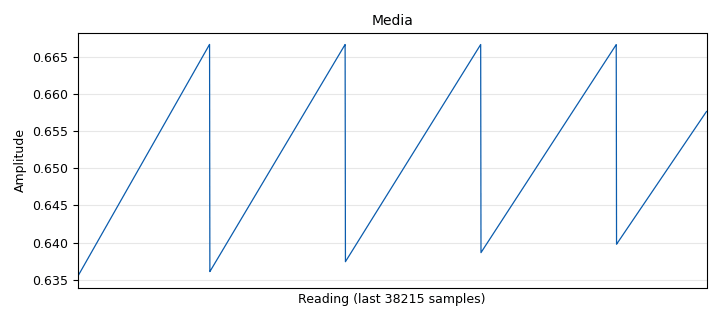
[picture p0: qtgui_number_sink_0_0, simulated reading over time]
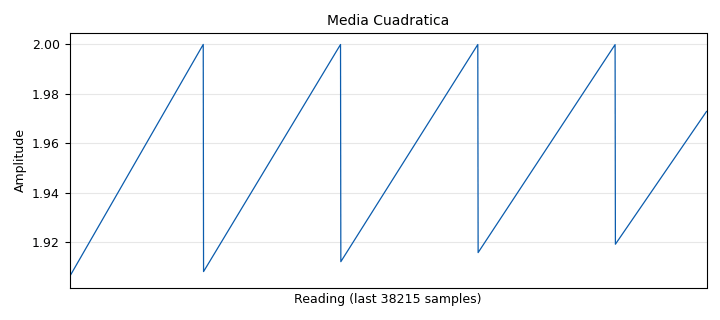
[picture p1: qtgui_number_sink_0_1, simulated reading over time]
options:
  parameters:
    author: lizaness
    generate_options: qt_gui
    id: estadistica
    output_language: python
    title: Not titled yet
  states: {}

blocks:
- name: samp_rate
  id: variable
  parameters:
    value: '32000'
  states: {}
- name: blocks_throttle2_0
  id: blocks_throttle2
  parameters:
    samples_per_second: samp_rate
    type: float
  states: {}
- name: blocks_throttle2_0_0
  id: blocks_throttle2
  parameters:
    samples_per_second: samp_rate
    type: float
  states: {}
- name: blocks_throttle2_0_1
  id: blocks_throttle2
  parameters:
    samples_per_second: samp_rate
    type: float
  states: {}
- name: blocks_throttle2_0_2
  id: blocks_throttle2
  parameters:
    samples_per_second: samp_rate
    type: float
  states: {}
- name: blocks_throttle2_0_3
  id: blocks_throttle2
  parameters:
    samples_per_second: samp_rate
    type: float
  states: {}
- name: blocks_vector_source_x_0
  id: blocks_vector_source_x
  parameters:
    repeat: 'True'
    type: float
    vector: (1, 2, -1)
  states: {}
- name: epy_block_0
  id: epy_block
  parameters:
    _source_code: "\"\"\"\nEmbedded Python Blocks:\n\nEach time this file is saved, GRC will instantiate the first class it finds\nto get ports and parameters of your block. The arguments to __init__  will\nbe the parameters. All of them are required to have default values!\n\"\"\"\n\nimport numpy as np\nfrom gnuradio import gr\n\nclass blk(gr.sync_block):\n    \"\"\"Bloque de Promedios de Tiempo Estadísticos\"\"\"\n\n    def __init__(self):\n        gr.sync_block.__init__(\n            self,\n            name='Promedios_de_tiempos',\n            in_sig=[np.float32],\n            out_sig=[np.float32, np.float32, np.float32, np.float32, np.float32]\n        )\n        self.acum_anterior = 0.0\n        self.Ntotales = 0\n        self.acum_anterior1 = 0.0\n        self.acum_anterior2 = 0.0\n\n    def work(self, input_items, output_items):\n        x = input_items[0]\n        y0 = output_items[0]  # Media\n        y1 = output_items[1]  # Media Cuadrática\n        y2 = output_items[2]  # RMS\n        y3 = output_items[3]  # Potencia Promedio\n        y4 = output_items[4]  # Desviación Estándar\n\n        N = len(x)\n        if N > 0:\n            self.Ntotales += N\n\n            # 1. Media\n            acumulado = self.acum_anterior + np.cumsum(x)\n            self.acum_anterior = acumulado[-1]\n            y0[:] = acumulado / self.Ntotales\n\n            # 2. Media Cuadrática\n            x2 = np.multiply(x, x)\n            acumulado1 = self.acum_anterior1 + np.cumsum(x2)\n            self.acum_anterior1 = acumulado1[-1]  # Corrección de variable en la guía\n            y1[:] = acumulado1 / self.Ntotales\n\n            # 3. Valor RMS\n            y2[:] = np.sqrt(y1)\n\n            # 4. Potencia Promedio\n            y3[:] = np.multiply(y2, y2)\n\n            # 5. Desviación Estándar\n            x3 = np.multiply(x - y0, x - y0)\n            acumulado2 = self.acum_anterior2 + np.cumsum(x3)\n            self.acum_anterior2 = acumulado2[-1]\n            y4[:] = np.sqrt(acumulado2 / self.Ntotales)\n\n        return len(x)\n\n\n\n"
  states: {}
- name: qtgui_number_sink_0_0
  id: qtgui_number_sink
  parameters:
    graph_type: qtgui.NUM_GRAPH_HORIZ
    name: '"Media"'
    type: float
  states: {}
- name: qtgui_number_sink_0_1
  id: qtgui_number_sink
  parameters:
    graph_type: qtgui.NUM_GRAPH_HORIZ
    name: '"Media Cuadratica"'
    type: float
  states: {}
- name: qtgui_number_sink_0_2
  id: qtgui_number_sink
  parameters:
    graph_type: qtgui.NUM_GRAPH_HORIZ
    name: '"RMS"'
    type: float
  states: {}
- name: qtgui_number_sink_0_3
  id: qtgui_number_sink
  parameters:
    graph_type: qtgui.NUM_GRAPH_HORIZ
    name: '"Potencia Promedio"'
    type: float
  states: {}
- name: qtgui_number_sink_0_4
  id: qtgui_number_sink
  parameters:
    graph_type: qtgui.NUM_GRAPH_HORIZ
    name: '"Desviacion Estandar"'
    type: float
  states: {}

connections:
- [blocks_throttle2_0, '0', qtgui_number_sink_0_0, '0']
- [blocks_throttle2_0_0, '0', qtgui_number_sink_0_1, '0']
- [blocks_throttle2_0_1, '0', qtgui_number_sink_0_2, '0']
- [blocks_throttle2_0_2, '0', qtgui_number_sink_0_3, '0']
- [blocks_throttle2_0_3, '0', qtgui_number_sink_0_4, '0']
- [blocks_vector_source_x_0, '0', epy_block_0, '0']
- [epy_block_0, '0', blocks_throttle2_0, '0']
- [epy_block_0, '1', blocks_throttle2_0_0, '0']
- [epy_block_0, '2', blocks_throttle2_0_1, '0']
- [epy_block_0, '3', blocks_throttle2_0_2, '0']
- [epy_block_0, '4', blocks_throttle2_0_3, '0']

metadata:
  file_format: 1
  grc_version: 3.10.9.2
